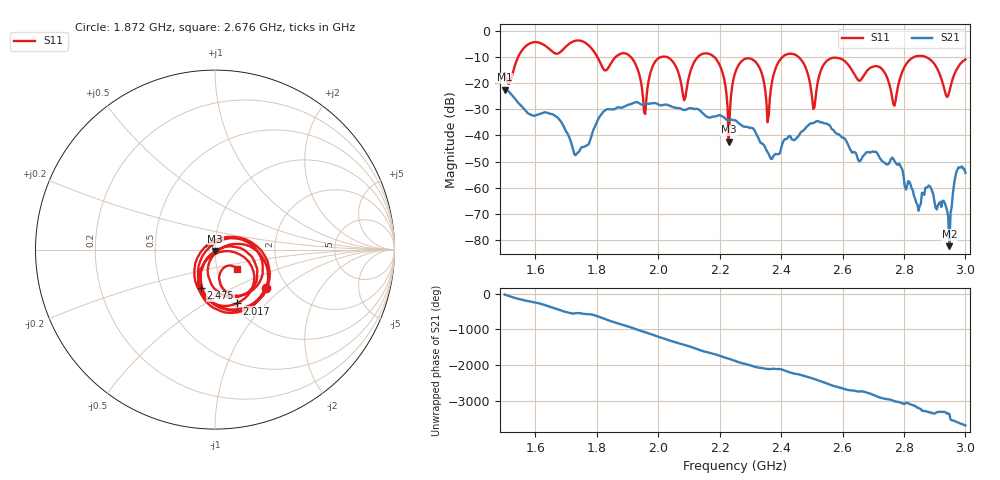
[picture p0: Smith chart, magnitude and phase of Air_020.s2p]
# HZ S RI R 50
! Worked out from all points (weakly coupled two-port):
!   404 points, 1.5 GHz to 3 GHz, reference 50 ohm
!   highest |S21| = -22.42 dB at 1.5 GHz (marker M1); lowest = -82.4 dB at 2.948 GHz (marker M2)
!   lowest |S11| = -42.4 dB at 2.23 GHz (marker M3), VSWR 1.02, Z = 50.1 - j0.758 ohm
!   |S11| at or under -10 dB: 2.183 GHz to 2.404 GHz (221.5 MHz wide, 9.66 % of centre); 2.457 GHz to 2.832 GHz (374.8 MHz wide, 14.2 % of centre); 2.872 GHz to end of sweep (the widest 3 of 7)
!   S12 and S22 are empty: the file has one direction only
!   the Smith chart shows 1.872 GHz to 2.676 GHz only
!   S11 on the Smith chart (normalised r, x): 1.872 GHz: 1.56, -0.76; 2.017 GHz: 1.04, -0.70; 2.475 GHz: 0.78, -0.36; 2.676 GHz: 1.24, -0.28
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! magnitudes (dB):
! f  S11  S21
! 1.5 GHz  -16.4  -22.4
! 1.753 GHz  -3.9  -44.4
! 1.872 GHz  -9.0  -29.2
! 1.954 GHz  -31.2  -28.2
! 2.002 GHz  -10.3  -28.2
! 2.017 GHz  -9.8  -28.3
! 2.084 GHz  -26.5  -30.2
! 2.177 GHz  -9.5  -32.8
! 2.23 GHz  -42.4  -34.2
! 2.252 GHz  -15.5  -34.2
! 2.315 GHz  -11.6  -38.4
! 2.356 GHz  -34.9  -46.4
! 2.401 GHz  -10.4  -44.6
! 2.475 GHz  -12.8  -37.8
! 2.501 GHz  -25.9  -35.3
! 2.561 GHz  -10.5  -36.6
! 2.676 GHz  -15.8  -46.6
! 2.751 GHz  -19.7  -50.8
! 2.859 GHz  -9.5  -61.9
! 2.948 GHz  -23.1  -82.4
! 2.974 GHz  -14.2  -53.1
! 3 GHz  -10.9  -54.3
